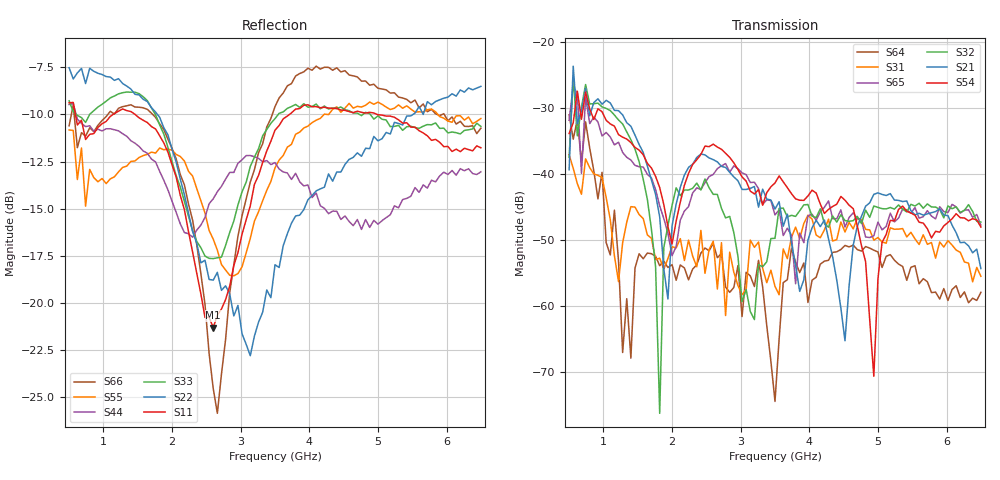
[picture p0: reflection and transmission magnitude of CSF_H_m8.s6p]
!Keysight Technologies,M9804A,MY58100912,A.14.10.03
!Date: Thursday, April 27, 2023 10:28:33
!Correction: S11(C  6-Port  )
!S12(C  6-Port  )
!S13(C  6-Port  )
!S14(C  6-Port  )
!S15(C  6-Port  )
!S16(C  6-Port  )
!S21(C  6-Port  )
!S22(C  6-Port  )
!S23(C  6-Port  )
!S24(C  6-Port  )
!S25(C  6-Port  )
!S26(C  6-Port  )
!S31(C  6-Port  )
!S32(C  6-Port  )
!S33(C  6-Port  )
!S34(C  6-Port  )
!S35(C  6-Port  )
!S36(C  6-Port  )
!S41(C  6-Port  )
!S42(C  6-Port  )
!S43(C  6-Port  )
!S44(C  6-Port  )
!S45(C  6-Port  )
!S46(C  6-Port  )
!S51(C  6-Port  )
!S52(C  6-Port  )
!S53(C  6-Port  )
!S54(C  6-Port  )
!S55(C  6-Port  )
!S56(C  6-Port  )
!S61(C  6-Port  )
!S62(C  6-Port  )
!S63(C  6-Port  )
!S64(C  6-Port  )
!S65(C  6-Port  )
!S66(C  6-Port  )
!S6P File: Measurement: :
# Hz S  RI  R 50
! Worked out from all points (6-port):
!   101 points, 500 MHz to 6.5 GHz, reference 50 ohm
!   strongest paths, dB at 500 MHz, 2 GHz, 3.5 GHz, 5 GHz, 6.5 GHz:
!     S54: -33.8, -50.6, -41.3, -55.9, -48.0
!     S21: -39.3, -47.8, -45.3, -42.8, -54.3
!     S32: -37.4, -44.7, -49.7, -45.0, -47.3
!     S65: -31.8, -52.4, -46.2, -47.3, -47.7
!     S31: -37.0, -51.0, -57.0, -49.6, -55.5
!     S64: -31.0, -53.7, -74.5, -51.8, -57.9
!   lowest |S11| = -21.3 dB at 2.6 GHz (marker M1), VSWR 1.19, Z = 42.4 + j2.31 ohm
!   |S11| at or under -10 dB: 591.9 MHz to 1.14 GHz (548.3 MHz wide, 63.3 % of centre); 1.462 GHz to 3.71 GHz (2.248 GHz wide, 86.9 % of centre); 4.989 GHz to end of sweep
